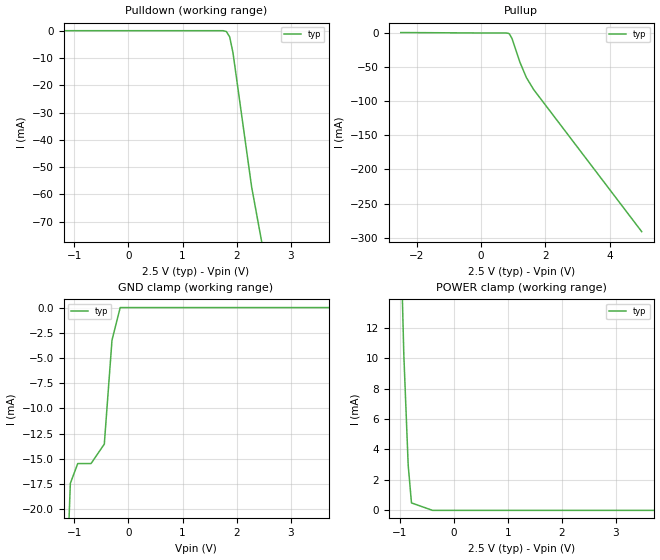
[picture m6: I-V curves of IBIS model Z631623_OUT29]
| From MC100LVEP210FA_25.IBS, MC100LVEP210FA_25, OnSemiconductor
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| (C) COPYRIGHT 1993-2000
| MENTOR GRAPHICS CORPORATION
| ICX STANDARD LIBRARY, ICX PROJECT MODELING,
| ICX CUSTOM MODELING, ICX VENDOR MODEL
| ALL RIGHTS RESERVED.
| THE FOLLOWING ARE TRADEMARKS OR SERVICE MARKS OF
| MENTOR GRAPHICS CORPORATION:ICX (R), ICX STANDARD
| LIBRARY(R), ICX PROJECT MODELING(R), ICX CUSTOM
| MODELING(R), qualityIBIS(TM), MODELVIEWER(TM),
| AND MODELEDITOR(TM)
| ALL COPIES OF SOFTWARE, INCLUDING BUT NOT LIMITED TO
| ANY MODIFICATIONS, ENHANCEMENTS OR DERIVATIVE WORKS,
| MUST CONTAIN ALL MENTOR GRAPHICS CORPORATION'S
| NOTICES AND LEGENDS, INCLUDING THOSE EMBEDDED IN
| SOFTWARE AND THOSE AFFIXED TO SOFTWARE MEDIUM
| AND CONTAINER, AS RECEIVED FROM MENTOR GRAPHICS
| CORPORATION.
| Model Application Version 1.89 2/18/99.
[Model] Z631623_OUT29
Model_type Output_ECL
Vref=500.0mV
Rref=50.00ohms
Cref=0.000F
Vmeas=1.100V
C_comp 1.000pF NA NA
| variable typ   min   max
[Voltage Range] 2.500V NA NA
[POWER Clamp Reference] 2.500V NA NA
[Pullup Reference] 2.500V NA NA
[Pulldown Reference] 2.500V NA NA
[GND Clamp Reference] 0.000V NA NA
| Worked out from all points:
|   GND clamp passes 1 mA (typ) near -0.20 V on its own axis
|   POWER clamp passes 1 mA (typ) near -0.79 V on its own axis
[GND Clamp]
-2.5V     -225.5mA   NA         NA
-1.074V   -17.44mA   NA         NA
-937.3mV  -15.48mA   NA         NA
-691.6mV  -15.48mA   NA         NA
-446mV    -13.55mA   NA         NA
-304mV    -3.228mA   NA         NA
-152mV    0A         NA         NA
5V        0A         NA         NA
[Pulldown]
-2.5V     0A         NA         NA
1.75V     0A         NA         NA
1.811V    -300uA     NA         NA
1.872V    -2.3mA     NA         NA
1.933V    -8.1mA     NA         NA
2.277V    -57.2mA    NA         NA
5V        -352.1mA   NA         NA
[Pullup]
-2.5V     663.7uA    NA         NA
22mV      0A         NA         NA
782mV     0A         NA         NA
843mV     -400uA     NA         NA
884mV     -1.4mA     NA         NA
965mV     -8.4mA     NA         NA
1.208V    -42.7mA    NA         NA
1.41V     -65.3mA    NA         NA
1.633V    -82.7mA    NA         NA
5V        -291.2mA   NA         NA
[POWER Clamp]
-2.5V     229.3mA    NA         NA
-921mV    10.25mA    NA         NA
-840mV    2.973mA    NA         NA
-779mV    489.2uA    NA         NA
-389.5mV  0A         NA         NA
5V        0A         NA         NA
[Ramp]
| variable typ min max
dV/dt_r 489.2m/139.4p NA NA
dV/dt_f 489.2m/138.1p NA NA
R_load = 50.00Ohms
